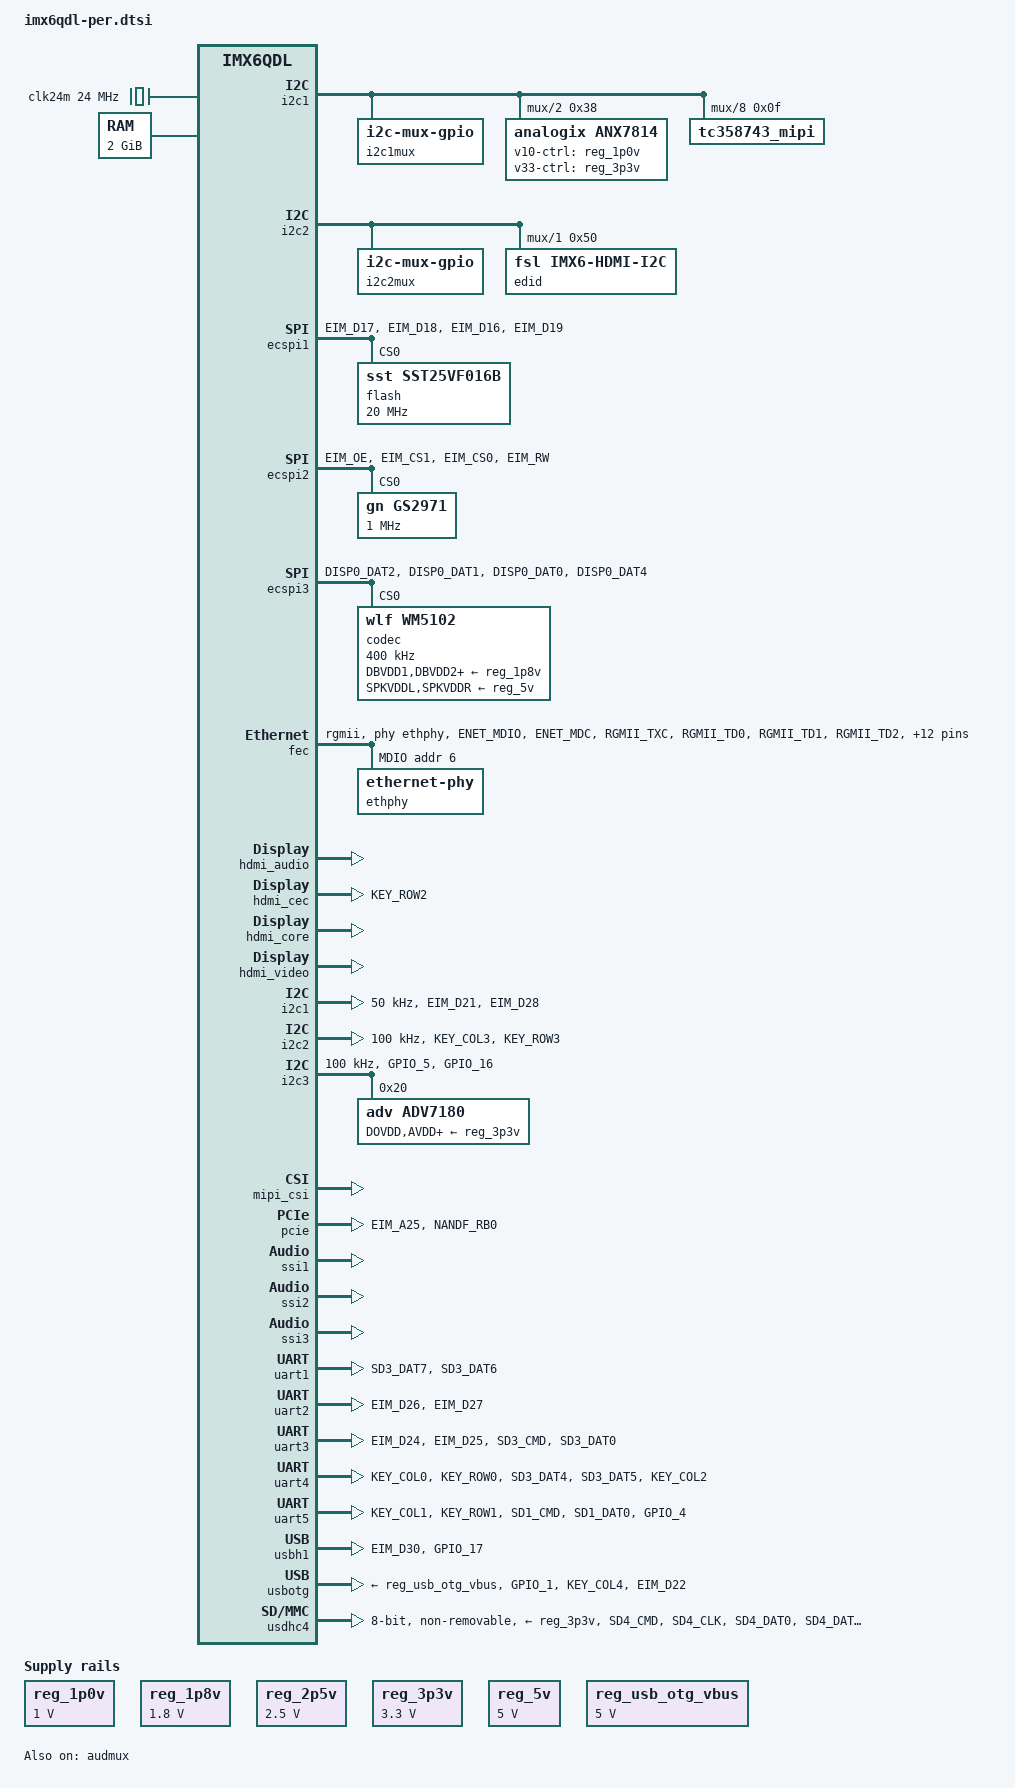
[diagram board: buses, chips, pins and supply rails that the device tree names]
/*
 * Copyright 2014 Boundary Devices
 *
 * The code contained herein is licensed under the GNU General Public
 * License. You may obtain a copy of the GNU General Public License
 * Version 2 or later at the following locations:
 *
 * http://www.opensource.org/licenses/gpl-license.html
 * http://www.gnu.org/copyleft/gpl.html
 */
#include <dt-bindings/gpio/gpio.h>
#include <dt-bindings/input/input.h>

&iomuxc {
	pinctrl-names = "default";
	pinctrl-0 = <&pinctrl_hog>;

	iomuxc_imx6q_per: iomuxc-imx6q-pergrp {
		status = "okay";
	};
};

&iomuxc_imx6q_per {
	pinctrl_audmux: audmuxgrp {
		fsl,pins = <
			/* Audio - GS2971 */
			MX6QDL_PAD_DISP0_DAT23__AUD4_RXD	0x1b070
			MX6QDL_PAD_SD2_CMD__AUD4_RXC		0x1b070
			MX6QDL_PAD_DISP0_DAT18__AUD4_RXFS	0x1b070

			/* Audio - TC3587 mipi hdmi input */
			MX6QDL_PAD_DISP0_DAT13__AUD5_RXFS	0x1b070
			MX6QDL_PAD_DISP0_DAT14__AUD5_RXC	0x1b070
			MX6QDL_PAD_DISP0_DAT19__AUD5_RXD	0x1b070

			/* Audio - WM5102 */
			MX6QDL_PAD_DI0_PIN2__AUD6_TXD		0x1b070
			MX6QDL_PAD_DI0_PIN3__AUD6_TXFS		0x1b070
			MX6QDL_PAD_DI0_PIN4__AUD6_RXD		0x1b070
			MX6QDL_PAD_DI0_PIN15__AUD6_TXC		0x1b070
		>;
	};

	pinctrl_ecspi1: ecspi1grp {
		fsl,pins = <
			MX6QDL_PAD_EIM_D17__ECSPI1_MISO		0x100b1
			MX6QDL_PAD_EIM_D18__ECSPI1_MOSI		0x100b1
			MX6QDL_PAD_EIM_D16__ECSPI1_SCLK		0x100b1
#define GP_ECSPI1_NOR_CS	<&gpio3 19 GPIO_ACTIVE_LOW>
			MX6QDL_PAD_EIM_D19__GPIO3_IO19		0x0b0b0
		>;
	};

	pinctrl_ecspi2: ecspi2grp {
		fsl,pins = <
			MX6QDL_PAD_EIM_OE__ECSPI2_MISO		0x100b1
			MX6QDL_PAD_EIM_CS1__ECSPI2_MOSI		0x100b1
			MX6QDL_PAD_EIM_CS0__ECSPI2_SCLK		0x100b1
#define GP_ECSPI2_GS2971_CS	<&gpio2 26 GPIO_ACTIVE_LOW>
			MX6QDL_PAD_EIM_RW__GPIO2_IO26		0x0b0b0
		>;
	};

	pinctrl_ecspi3: ecspi3grp {
		fsl,pins = <
			MX6QDL_PAD_DISP0_DAT2__ECSPI3_MISO	0x100b1
			MX6QDL_PAD_DISP0_DAT1__ECSPI3_MOSI	0x100b1
			MX6QDL_PAD_DISP0_DAT0__ECSPI3_SCLK	0x100b1
#define GP_ECSPI3_WM5102_CS	<&gpio4 25 GPIO_ACTIVE_LOW>
			MX6QDL_PAD_DISP0_DAT4__GPIO4_IO25	0x0b0b0		/* WM5102 */
		>;
	};

	pinctrl_enet: enetgrp {
		fsl,pins = <
			MX6QDL_PAD_ENET_MDIO__ENET_MDIO		0x1b0b0
			MX6QDL_PAD_ENET_MDC__ENET_MDC		0x1b0b0
			MX6QDL_PAD_RGMII_TXC__RGMII_TXC		0x100b0
			MX6QDL_PAD_RGMII_TD0__RGMII_TD0		0x100b0
			MX6QDL_PAD_RGMII_TD1__RGMII_TD1		0x100b0
			MX6QDL_PAD_RGMII_TD2__RGMII_TD2		0x100b0
			MX6QDL_PAD_RGMII_TD3__RGMII_TD3		0x100b0
			MX6QDL_PAD_RGMII_TX_CTL__RGMII_TX_CTL	0x100b0
			MX6QDL_PAD_ENET_REF_CLK__ENET_TX_CLK	0x100b0
			MX6QDL_PAD_RGMII_RXC__RGMII_RXC		0x1b0b0
			MX6QDL_PAD_RGMII_RD0__RGMII_RD0		0x1b0b0
			MX6QDL_PAD_RGMII_RD1__RGMII_RD1		0x1b0b0
			MX6QDL_PAD_RGMII_RD2__RGMII_RD2		0x1b0b0
			MX6QDL_PAD_RGMII_RD3__RGMII_RD3		0x1b0b0
			MX6QDL_PAD_RGMII_RX_CTL__RGMII_RX_CTL	0x1b0b0
#define GP_ENET_PHY_RESET	<&gpio1 27 GPIO_ACTIVE_LOW>
			MX6QDL_PAD_ENET_RXD0__GPIO1_IO27	0x030b0
#define GPIRQ_ENET_PHY	<&gpio1 28 IRQ_TYPE_LEVEL_LOW>
			MX6QDL_PAD_ENET_TX_EN__GPIO1_IO28	0x1b0b0
#define GPIRQ_ENET		<&gpio1 6 IRQ_TYPE_LEVEL_HIGH>
			MX6QDL_PAD_GPIO_6__ENET_IRQ		0x000b1
		>;
	};

	pinctrl_gs2971: gs2971grp {
		/* parallel camera on CSI1, pins differ for iMX6Q/iMX6DL */
	};

	pinctrl_gs2971_cea861: gs2971_cea861grp {
		/* parallel camera on CSI1, pins differ for iMX6Q/iMX6DL */
	};

	pinctrl_gs2971_no_cea861: gs2971_no_cea861grp { /* parallel camera */
		/* sav/eav codes are used, not hsync/vsync */
		fsl,pins = <
			MX6QDL_PAD_EIM_DA11__GPIO3_IO11		0xb0b1	/* HSYNC */
			MX6QDL_PAD_EIM_DA12__GPIO3_IO12		0xb0b1	/* VSYNC */
		>;
	};

	pinctrl_gs2971_gpios: gs2971_gpiosgrp {
		fsl,pins = <
#define GPIO_INPUT 2
#define GP_GS2971_STANDBY	<&gpio5 0 GPIO_ACTIVE_HIGH>
			MX6QDL_PAD_EIM_WAIT__GPIO5_IO00		0x000b0		/* 1 - pin K2 - Standby */
#define GP_GS2971_RESET		<&gpio3 13 GPIO_ACTIVE_LOW>
			MX6QDL_PAD_EIM_DA13__GPIO3_IO13		0x000b0		/* 0 - pin C7 - reset */
#define GP_GS2971_RC_BYPASS	<&gpio4 27 GPIO_ACTIVE_HIGH>
			MX6QDL_PAD_DISP0_DAT6__GPIO4_IO27	0x000b0		/* 0 - pin G3 - RC bypass - output is buffered(low) */
#define GP_GS2971_IOPROC_EN	<&gpio4 28 GPIO_ACTIVE_HIGH>
			MX6QDL_PAD_DISP0_DAT7__GPIO4_IO28	0x000b0		/* 0 - pin H8 - io(A/V) processor enable */
#define GP_GS2971_AUDIO_EN	<&gpio4 29 GPIO_ACTIVE_HIGH>
			MX6QDL_PAD_DISP0_DAT8__GPIO4_IO29	0x000b0		/* 0 - pin H3 - Audio Enable */
#define GP_GS2971_TIM_861	<&gpio4 30 GPIO_ACTIVE_HIGH>
			MX6QDL_PAD_DISP0_DAT9__GPIO4_IO30	0x000b0		/* 0 - pin H5 - TIM861 timing format, 1-use HSYNC/VSYNC */
#define GP_GS2971_SW_EN		<&gpio4 31 GPIO_ACTIVE_HIGH>
			MX6QDL_PAD_DISP0_DAT10__GPIO4_IO31	0x000b0		/* 0 - pin D7 - SW_EN - line lock enable */
#define GP_GS2971_DVB_ASI	<&gpio5 5 GPIO_INPUT>
			MX6QDL_PAD_DISP0_DAT11__GPIO5_IO05	0x1b0b0		/* pin G8 i/o DVB_ASI */
#define GP_GS2971_SMPTE_BYPASS	<&gpio2 27 GPIO_INPUT>
			MX6QDL_PAD_EIM_LBA__GPIO2_IO27		0x1b0b0		/* pin G7 - i/o SMPTE bypass */
#define GP_GS2971_DVI_LOCK	<&gpio3 14 GPIO_INPUT>
			MX6QDL_PAD_EIM_DA14__GPIO3_IO14		0x1b0b0		/* pin B6 - stat3 - DVI_LOCK */
#define GP_GS2971_DATA_ERR	<&gpio3 15 GPIO_INPUT>
			MX6QDL_PAD_EIM_DA15__GPIO3_IO15		0x1b0b0		/* pin C6 - stat5 - DATA error */
#define GP_GS2971_LB_CONT	<&gpio3 20 GPIO_INPUT>
			MX6QDL_PAD_EIM_D20__GPIO3_IO20		0x1b0b0		/* pin A3 - LB control - float, analog input */
#define GP_GS2971_Y_1ANC	<&gpio4 26 GPIO_INPUT>
			MX6QDL_PAD_DISP0_DAT5__GPIO4_IO26	0x1b0b0		/* pin C5 - stat4 - 1ANC - Y signal detect */
		>;
	};

	pinctrl_hdmi_cec: hdmi_cecgrp {
		fsl,pins = <
			MX6QDL_PAD_KEY_ROW2__HDMI_TX_CEC_LINE 0x1f8b0
		>;
	};

	pinctrl_hog: hoggrp {
		fsl,pins = <
			MX6QDL_PAD_GPIO_19__GPIO4_IO05		0x1b0b0		/* TP101 alert */
			MX6QDL_PAD_SD3_DAT1__GPIO7_IO05		0x1b0b0		/* PTT_ON */
			MX6QDL_PAD_SD3_CLK__GPIO7_IO03		0x1b0b0		/* power on J11 pin 3 */
			MX6QDL_PAD_SD1_DAT3__GPIO1_IO21		0x1b0b0		/* 1-wire enable */
			MX6QDL_PAD_GPIO_0__GPIO1_IO00		0x1b0b0		/* KL04 SWD_CLK */
			MX6QDL_PAD_GPIO_2__GPIO1_IO02		0x1b0b0		/* KL04 SWD_IO */
			MX6QDL_PAD_CSI0_DATA_EN__GPIO5_IO20	0x1b0b0		/* KL04 Reset */
			MX6QDL_PAD_CSI0_DAT4__GPIO5_IO22	0x1b0b0		/* KL04 Program */
			MX6QDL_PAD_CSI0_DAT11__GPIO5_IO29	0x1b0b0		/* KL04 Irq */
			MX6QDL_PAD_DI0_DISP_CLK__GPIO4_IO16	0x1b0b0		/* NC */
			MX6QDL_PAD_DISP0_DAT12__GPIO5_IO06	0x1b0b0		/* NC */
			MX6QDL_PAD_DISP0_DAT20__GPIO5_IO14	0x1b0b0		/* NC */
			MX6QDL_PAD_DISP0_DAT21__GPIO5_IO15	0x1b0b0		/* NC */
			MX6QDL_PAD_DISP0_DAT22__GPIO5_IO16	0x1b0b0		/* NC */
#define GP_ANX7738_RESET	<&gpio2 0 GPIO_ACTIVE_LOW>
			MX6QDL_PAD_NANDF_D0__GPIO2_IO00		0x130b0		/* I_HDMI_RESET_N */
		>;
	};

	pinctrl_i2c1: i2c1grp {
		fsl,pins = <
			MX6QDL_PAD_EIM_D21__I2C1_SCL	0x4001b8b1
			MX6QDL_PAD_EIM_D28__I2C1_SDA	0x4001b8b1
		>;
	};

	pinctrl_i2c1_1: i2c1_1grp {
		fsl,pins = <
#define GP_I2C1_SCL	<&gpio3 21 GPIO_ACTIVE_HIGH>
			MX6QDL_PAD_EIM_D21__GPIO3_IO21		0x4001b8b1
#define GP_I2C1_SDA	<&gpio3 28 GPIO_ACTIVE_HIGH>
			MX6QDL_PAD_EIM_D28__GPIO3_IO28		0x4001b8b1
		>;
	};

	pinctrl_i2c1a_tc358743_mipi: i2c1a-tc358743_mipigrp {
		fsl,pins = <
			MX6QDL_PAD_EIM_D23__GPIO3_IO23		0x1b0b0		/* J13 pin1 - Video detect */
			MX6QDL_PAD_EIM_D29__GPIO3_IO29		0x1b0b0		/* J13 pin20 - HPD in */
#define GP_TC3587_RESET	<&gpio6 11 GPIO_ACTIVE_LOW>
			MX6QDL_PAD_NANDF_CS0__GPIO6_IO11	0x000b0		/* Reset */
#define GPIRQ_TC3587	<&gpio6 14 IRQ_TYPE_LEVEL_LOW>
			MX6QDL_PAD_NANDF_CS1__GPIO6_IO14	0x000b0		/* Irq */
		>;
	};

	pinctrl_i2c1mux: i2c1muxgrp {
		fsl,pins = <
#define GP_I2C1_MUX_KL04	<&gpio5 27 GPIO_ACTIVE_HIGH>
			MX6QDL_PAD_CSI0_DAT9__GPIO5_IO27	0x030b0
#define GP_I2C1_MUX_ANX7814	<&gpio1 10 GPIO_ACTIVE_HIGH>
			MX6QDL_PAD_SD2_CLK__GPIO1_IO10		0x030b0
#define GP_I2C1_MUX_AX7738	<&gpio2 1 GPIO_ACTIVE_HIGH>
			MX6QDL_PAD_NANDF_D1__GPIO2_IO01		0x030b0
#define GP_I2C1_MUX_TC3587	 <&gpio6 16 GPIO_ACTIVE_HIGH>
			MX6QDL_PAD_NANDF_CS3__GPIO6_IO16	0x030b0
		>;
	};

	pinctrl_i2c1c_anx7814: i2c2a_anx7814grp {
		fsl,pins = <
#define GP_ANX7814_P_DWN       <&gpio1 13 GPIO_ACTIVE_HIGH>
			MX6QDL_PAD_SD2_DAT2__GPIO1_IO13		0x1b0b0		/* O_HDMI_PD */
#define GP_ANX7814_RESET       <&gpio2 5 GPIO_ACTIVE_LOW>
			MX6QDL_PAD_NANDF_D5__GPIO2_IO05		0x130b0		/* O_HDMI_RESET_N */
#define GP_ANX7814_CBL_DET     <&gpio2 3 GPIO_ACTIVE_HIGH>
			MX6QDL_PAD_NANDF_D3__GPIO2_IO03		0x130b0		/* O_HDMI_MYDP_DET_INTR */
#define GP_ANX7814_HDMI_INTR   <&gpio1 14 GPIO_ACTIVE_LOW>
			MX6QDL_PAD_SD2_DAT1__GPIO1_IO14		0x1b0b0		/* O_HDMI_INTR */
		>;
	};

	pinctrl_i2c2: i2c2grp {
		fsl,pins = <
			MX6QDL_PAD_KEY_COL3__I2C2_SCL	0x4001b8b1
			MX6QDL_PAD_KEY_ROW3__I2C2_SDA	0x4001b8b1
		>;
	};

	pinctrl_i2c2_1: i2c2_1grp {
		fsl,pins = <
#define GP_I2C2_SCL	<&gpio4 12 GPIO_ACTIVE_HIGH>
			MX6QDL_PAD_KEY_COL3__GPIO4_IO12		0x4001b8b1
#define GP_I2C2_SDA	<&gpio4 13 GPIO_ACTIVE_HIGH>
			MX6QDL_PAD_KEY_ROW3__GPIO4_IO13		0x4001b8b1
		>;
	};

	pinctrl_i2c2mux: i2c2muxgrp {
		fsl,pins = <
#define GP_I2C2_MUX_ANX7814_DDC	 <&gpio1 15 GPIO_ACTIVE_HIGH>
			MX6QDL_PAD_SD2_DAT0__GPIO1_IO15		0x030b0
		>;
	};

	pinctrl_i2c3: i2c3grp {
		fsl,pins = <
			MX6QDL_PAD_GPIO_5__I2C3_SCL	0x4001b8b1
			MX6QDL_PAD_GPIO_16__I2C3_SDA	0x4001b8b1
		>;
	};

	pinctrl_i2c3_1: i2c3_1grp {
		fsl,pins = <
#define GP_I2C3_SCL	<&gpio1 5 GPIO_ACTIVE_HIGH>
			MX6QDL_PAD_GPIO_5__GPIO1_IO05		0x4001b8b1
#define GP_I2C3_SDA	<&gpio7 11 GPIO_ACTIVE_HIGH>
			MX6QDL_PAD_GPIO_16__GPIO7_IO11		0x4001b8b1
		>;
	};

	pinctrl_i2c3_adv7180: i2c3-adv7180grp {
		fsl,pins = <
			MX6QDL_PAD_CSI0_DAT12__IPU1_CSI0_DATA12		0x1b0b1
			MX6QDL_PAD_CSI0_DAT13__IPU1_CSI0_DATA13		0x1b0b1
			MX6QDL_PAD_CSI0_DAT14__IPU1_CSI0_DATA14		0x1b0b1
			MX6QDL_PAD_CSI0_DAT15__IPU1_CSI0_DATA15		0x1b0b1
			MX6QDL_PAD_CSI0_DAT16__IPU1_CSI0_DATA16		0x1b0b1
			MX6QDL_PAD_CSI0_DAT17__IPU1_CSI0_DATA17		0x1b0b1
			MX6QDL_PAD_CSI0_DAT18__IPU1_CSI0_DATA18		0x1b0b1
			MX6QDL_PAD_CSI0_DAT19__IPU1_CSI0_DATA19		0x1b0b1
			MX6QDL_PAD_CSI0_PIXCLK__IPU1_CSI0_PIXCLK	0x1b0b1
#define GP_ADV7180_RESET	<&gpio4 15 GPIO_ACTIVE_LOW>
			MX6QDL_PAD_KEY_ROW4__GPIO4_IO15			0x000b0		/* Reset */
#define GPIRQ_ADV7180		<&gpio1 9 IRQ_TYPE_LEVEL_LOW>
			MX6QDL_PAD_GPIO_9__GPIO1_IO09			0x1b0b0		/* Irq */
		>;
	};

	pinctrl_i2c3_adv7180_cea861: i2c3-adv7180_cea861grp {
		fsl,pins = <
			MX6QDL_PAD_CSI0_MCLK__IPU1_CSI0_HSYNC		0x1b0b1
			MX6QDL_PAD_CSI0_VSYNC__IPU1_CSI0_VSYNC		0x1b0b1
		>;
	};

	pinctrl_i2c3_adv7180_no_cea861: i2c3-adv7180_no_cea861grp {
		fsl,pins = <
			MX6QDL_PAD_CSI0_MCLK__GPIO5_IO19		0x1b0b1	/* Hsync */
			MX6QDL_PAD_CSI0_VSYNC__GPIO5_IO21		0x1b0b1	/* Vsync */
		>;
	};

	pinctrl_pcie: pciegrp {
		fsl,pins = <
#define GP_PCIE_RESET	<&gpio5 2 GPIO_ACTIVE_LOW>
			MX6QDL_PAD_EIM_A25__GPIO5_IO02		0x000b0		/* pcie reset */
			MX6QDL_PAD_NANDF_RB0__GPIO6_IO10	0x000b0		/* Radio on */
		>;
	};

	pinctrl_uart1: uart1grp { /* UART1 - J2 - PTT connector */
		fsl,pins = <
			MX6QDL_PAD_SD3_DAT7__UART1_TX_DATA	0x1b0b1
			MX6QDL_PAD_SD3_DAT6__UART1_RX_DATA	0x1b0b1
		>;
	};

	pinctrl_uart2: uart2grp { /* UART2 - debug console */
		fsl,pins = <
			MX6QDL_PAD_EIM_D26__UART2_TX_DATA	0x1b0b1
			MX6QDL_PAD_EIM_D27__UART2_RX_DATA	0x1b0b1
		>;
	};

	pinctrl_uart3: uart3grp { /* UART3 - relay J3 */
		fsl,pins = <
			MX6QDL_PAD_EIM_D24__UART3_TX_DATA	0x1b0b1		/* J3, pin 5 */
			MX6QDL_PAD_EIM_D25__UART3_RX_DATA	0x1b0b1		/* J3, pin 6 */
			MX6QDL_PAD_SD3_CMD__GPIO7_IO02		0x1b0b0		/* Relay Detect */
			MX6QDL_PAD_SD3_DAT0__GPIO7_IO04		0x1b0b0		/* Carrier sense */
		>;
	};

	pinctrl_uart4: uart4grp { /* UART4 - GPS */
		fsl,pins = <
			MX6QDL_PAD_KEY_COL0__UART4_TX_DATA	0x1b0b1
			MX6QDL_PAD_KEY_ROW0__UART4_RX_DATA	0x1b0b1
			MX6QDL_PAD_SD3_DAT4__GPIO7_IO01		0x1b0b0		/* GPS reset */
			MX6QDL_PAD_SD3_DAT5__GPIO7_IO00		0x1b0b0		/* GPS Irq */
			MX6QDL_PAD_KEY_COL2__GPIO4_IO10		0x1b0b0		/* GPS Heartbeat */
		>;
	};

	pinctrl_uart5: uart5grp { /* UART5 - J6 data connector */
		fsl,pins = <
			MX6QDL_PAD_KEY_COL1__UART5_TX_DATA	0x0b0b1		/* J6, pin 5 */
			MX6QDL_PAD_KEY_ROW1__UART5_RX_DATA	0x1b0b1		/* J6, pin 6 */
			MX6QDL_PAD_SD1_CMD__GPIO1_IO18		0x1b0b0		/* J6, pin 8 - Data detect */
			MX6QDL_PAD_SD1_DAT0__GPIO1_IO16		0x1b0b0		/* J6, Power enable */
			MX6QDL_PAD_GPIO_4__GPIO1_IO04		0x1b0b0		/* J6, pin 16 */
		>;
	};

	pinctrl_usbh1: usbh1grp {
		fsl,pins = <
			MX6QDL_PAD_EIM_D30__USB_H1_OC	0x1b0b0
#define GP_USB_HUB_RESET	<&gpio7 12 GPIO_ACTIVE_LOW>
			MX6QDL_PAD_GPIO_17__GPIO7_IO12	0x1b0b0	/* USB Hub Reset for USB2512 4 port hub */
		>;
	};

	pinctrl_usbotg: usbotggrp {
		fsl,pins = <
			MX6QDL_PAD_GPIO_1__USB_OTG_ID	0x17059
			MX6QDL_PAD_KEY_COL4__USB_OTG_OC	0x1b0b0
#define GP_USB_OTG_PWR		<&gpio3 22 GPIO_ACTIVE_HIGH>
			MX6QDL_PAD_EIM_D22__GPIO3_IO22		0x0b0b0	/* otg power en */
		>;
	};

	pinctrl_usdhc4_50mhz: usdhc4grp-1 {
		fsl,pins = <
			MX6QDL_PAD_SD4_CMD__SD4_CMD		0x17059
			MX6QDL_PAD_SD4_CLK__SD4_CLK		0x10059
			MX6QDL_PAD_SD4_DAT0__SD4_DATA0		0x17059
			MX6QDL_PAD_SD4_DAT1__SD4_DATA1		0x17059
			MX6QDL_PAD_SD4_DAT2__SD4_DATA2		0x17059
			MX6QDL_PAD_SD4_DAT3__SD4_DATA3		0x17059
			MX6QDL_PAD_SD4_DAT4__SD4_DATA4		0x17059
			MX6QDL_PAD_SD4_DAT5__SD4_DATA5		0x17059
			MX6QDL_PAD_SD4_DAT6__SD4_DATA6		0x17059
			MX6QDL_PAD_SD4_DAT7__SD4_DATA7		0x17059
			MX6QDL_PAD_NANDF_CLE__GPIO6_IO07 0x1b0b0	/* eMMC reset */
		>;
	};

	pinctrl_usdhc4_100mhz: usdhc4grp-2 {
		fsl,pins = <
			MX6QDL_PAD_SD4_CMD__SD4_CMD		0x170b9
			MX6QDL_PAD_SD4_CLK__SD4_CLK		0x100b9
			MX6QDL_PAD_SD4_DAT0__SD4_DATA0		0x170b9
			MX6QDL_PAD_SD4_DAT1__SD4_DATA1		0x170b9
			MX6QDL_PAD_SD4_DAT2__SD4_DATA2		0x170b9
			MX6QDL_PAD_SD4_DAT3__SD4_DATA3		0x170b9
			MX6QDL_PAD_SD4_DAT4__SD4_DATA4		0x170b9
			MX6QDL_PAD_SD4_DAT5__SD4_DATA5		0x170b9
			MX6QDL_PAD_SD4_DAT6__SD4_DATA6		0x170b9
			MX6QDL_PAD_SD4_DAT7__SD4_DATA7		0x170b9
		>;
	};

	pinctrl_usdhc4_200mhz: usdhc4grp-3 {
		fsl,pins = <
			MX6QDL_PAD_SD4_CMD__SD4_CMD		0x170f9
			MX6QDL_PAD_SD4_CLK__SD4_CLK		0x100f9
			MX6QDL_PAD_SD4_DAT0__SD4_DATA0		0x170f9
			MX6QDL_PAD_SD4_DAT1__SD4_DATA1		0x170f9
			MX6QDL_PAD_SD4_DAT2__SD4_DATA2		0x170f9
			MX6QDL_PAD_SD4_DAT3__SD4_DATA3		0x170f9
			MX6QDL_PAD_SD4_DAT4__SD4_DATA4		0x170f9
			MX6QDL_PAD_SD4_DAT5__SD4_DATA5		0x170f9
			MX6QDL_PAD_SD4_DAT6__SD4_DATA6		0x170f9
			MX6QDL_PAD_SD4_DAT7__SD4_DATA7		0x170f9
		>;
	};

	pinctrl_wm5102: wm5102grp {
		fsl,pins = <
			MX6QDL_PAD_SD1_CLK__OSC32K_32K_OUT	0x000b0	/* MCLK2 */
			MX6QDL_PAD_NANDF_CS2__CCM_CLKO2		0x000b0	/* MCLK1 */
#define GP_WM5102_RESET	<&gpio5 9 GPIO_ACTIVE_LOW>
			MX6QDL_PAD_DISP0_DAT15__GPIO5_IO09	0x000b0	/* Reset */
#define GPIRQ_WM5102	<&gpio5 10 IRQ_TYPE_LEVEL_LOW>
			MX6QDL_PAD_DISP0_DAT16__GPIO5_IO10	0x1b0b0	/* Irq */
#define GP_WM5102_LDOENA <&gpio5 11 GPIO_ACTIVE_HIGH>
			MX6QDL_PAD_DISP0_DAT17__GPIO5_IO11	0x000b0	/* ldo enable */
#define GP_WM5102_MIC_PTT_L <&gpio2 31 GPIO_ACTIVE_LOW>
			MX6QDL_PAD_EIM_EB3__GPIO2_IO31		0x1b0b0		/* J2, pin 6: PTT_L */
#define GP_WM5102_MIC_PTT_R <&gpio2 30 GPIO_ACTIVE_LOW>
			MX6QDL_PAD_EIM_EB2__GPIO2_IO30		0x1b0b0		/* J2, pin 7: PTT_R */
		>;
	};
};

/ {
	aliases {
		fb_hdmi = &fb_hdmi;
		mmc0 = &usdhc4;
		mxcfb0 = &fb_hdmi;
	};

	clocks {
		clk24m: clk24m {
			compatible = "fixed-clock";
			#clock-cells = <0>;
			clock-frequency = <24000000>;
		};
	};

	fb_hdmi: fb@0 {
		compatible = "fsl,mxc_sdc_fb";
		disp_dev = "hdmi";
		interface_pix_fmt = "RGB24";
		mode_str ="1280x720M@60";
		default_bpp = <24>;
		int_clk = <0>;
		late_init = <0>;
		status = "disabled";
	};

	i2c1mux {
		compatible = "i2c-mux-gpio";
		pinctrl-names = "default";
		pinctrl-0 = <&pinctrl_i2c1mux>;
		#address-cells = <1>;
		#size-cells = <0>;
		mux-gpios = GP_I2C1_MUX_KL04, GP_I2C1_MUX_ANX7814, GP_I2C1_MUX_AX7738, GP_I2C1_MUX_TC3587;
		i2c-parent = <&i2c1>;
		idle-state = <0>;

		i2c1a: i2c1@1 {
			reg = <1>;
			#address-cells = <1>;
			#size-cells = <0>;
		};
		i2c1b: i2c1@2 {
			reg = <2>;
			#address-cells = <1>;
			#size-cells = <0>;
		};
		i2c1c: i2c1@4 {
			reg = <4>;
			#address-cells = <1>;
			#size-cells = <0>;
		};
		i2c1d: i2c1@8 {
			reg = <8>;
			#address-cells = <1>;
			#size-cells = <0>;
		};
	};

	i2c2mux {
		compatible = "i2c-mux-gpio";
		pinctrl-names = "default";
		pinctrl-0 = <&pinctrl_i2c2mux>;
		#address-cells = <1>;
		#size-cells = <0>;
		mux-gpios = GP_I2C2_MUX_ANX7814_DDC;
		i2c-parent = <&i2c2>;
		idle-state = <0>;

		i2c2a: i2c2@1 {
			reg = <1>;
			#address-cells = <1>;
			#size-cells = <0>;
		};
	};

	memory {
		reg = <0x10000000 0x80000000>;
	};

	regulators {
		compatible = "simple-bus";
		#address-cells = <1>;
		#size-cells = <0>;

		reg_1p0v: regulator@0 {
			compatible = "regulator-fixed";
			reg = <0>;
			regulator-name = "1P0V";
			regulator-min-microvolt = <1000000>;
			regulator-max-microvolt = <1000000>;
			regulator-always-on;
		};

		reg_1p8v: regulator@1 {
			compatible = "regulator-fixed";
			reg = <1>;
			regulator-name = "1P8V";
			regulator-min-microvolt = <1800000>;
			regulator-max-microvolt = <1800000>;
			regulator-always-on;
		};

		reg_2p5v: regulator@2 {
			compatible = "regulator-fixed";
			reg = <2>;
			regulator-name = "2P5V";
			regulator-min-microvolt = <2500000>;
			regulator-max-microvolt = <2500000>;
			regulator-always-on;
		};

		reg_3p3v: regulator@3 {
			compatible = "regulator-fixed";
			reg = <3>;
			regulator-name = "3P3V";
			regulator-min-microvolt = <3300000>;
			regulator-max-microvolt = <3300000>;
			regulator-always-on;
		};

		reg_5v: regulator@4 {
			compatible = "regulator-fixed";
			reg = <4>;
			regulator-name = "5V";
			regulator-min-microvolt = <5000000>;
			regulator-max-microvolt = <5000000>;
			regulator-always-on;
		};

		reg_usb_otg_vbus: regulator@5 {
			compatible = "regulator-fixed";
			reg = <5>;
			regulator-name = "usb_otg_vbus";
			regulator-min-microvolt = <5000000>;
			regulator-max-microvolt = <5000000>;
			gpio = GP_USB_OTG_PWR;
			enable-active-high;
		};
	};

	sound-hdmi {
		compatible = "fsl,imx6q-audio-hdmi",
			     "fsl,imx-audio-hdmi";
		model = "imx-audio-hdmi";
		hdmi-controller = <&hdmi_audio>;
	};

	sound-wm5102 {
		compatible = "fsl,imx6q-per-wm5102",
			     "fsl,imx-audio-wm5102";
		model = "imx6q-per-wm5102";
		ssi-controller = <&ssi1>;
		mux-int-port = <1>;
		mux-ext-port = <6>;
	};

	v4l2_cap_0 {		/* Adv7180 */
		compatible = "fsl,imx6q-v4l2-capture";
		ipu_id = <0>;
		csi_id = <0>;
		mclk_source = <0>;
		status = "okay";
	};

	v4l2_cap_1 {		/* TC3587 */
		compatible = "fsl,imx6q-v4l2-capture";
		ipu_id = <0>;
		csi_id = <0>;
		mipi_camera = <1>;
		mclk_source = <0>;
		status = "okay";
	};

	v4l2_cap_2: v4l2_cap_2 { /* GS2971 */
		compatible = "fsl,imx6q-v4l2-capture";
		csi_id = <1>;
		mclk_source = <0>;
		status = "okay";
	};

	v4l2_out {
		compatible = "fsl,mxc_v4l2_output";
		status = "okay";
	};
};

&audmux {
	pinctrl-names = "default";
	pinctrl-0 = <&pinctrl_audmux>;
	status = "okay";
};

&ecspi1 {
	fsl,spi-num-chipselects = <1>;
	cs-gpios = GP_ECSPI1_NOR_CS;
	pinctrl-names = "default";
	pinctrl-0 = <&pinctrl_ecspi1>;
	status = "okay";

	flash: m25p80@0 {
		compatible = "sst,sst25vf016b";
		spi-max-frequency = <20000000>;
		reg = <0>;
		#address-cells = <1>;
		#size-cells = <1>;
		mtd@00000000 {
			label = "U-Boot";
			reg = <0x0 0xC0000>;
		};

		mtd@000C0000 {
			label = "env";
			reg = <0xC0000 0x2000>;
		};
		mtd@000C2000 {
			label = "splash";
			reg = <0xC2000 0x13e000>;
		};
	};
};

&ecspi2 {
	fsl,spi-num-chipselects = <1>;
	cs-gpios = GP_ECSPI2_GS2971_CS;
	pinctrl-names = "default";
	pinctrl-0 = <&pinctrl_ecspi2>;
	status = "okay";

	gs2971: gs2971@0 {
		compatible = "gn,gs2971";
		reg = <0>;
		pinctrl-names = "default", "no_cea861", "cea861";
		pinctrl-0 = <&pinctrl_gs2971>, <&pinctrl_gs2971_gpios>;
		pinctrl-1 = <&pinctrl_gs2971_no_cea861>;
		pinctrl-2 = <&pinctrl_gs2971_cea861>;
		mclk = <27000000>;
		csi = <1>;
		cea861 = <0>;
		spi-max-frequency = <1000000>;
		standby-gpios = GP_GS2971_STANDBY;	/* 1 - powerdown */
		rst-gpios = GP_GS2971_RESET;		/* 0 - reset */
		tim_861-gpios = GP_GS2971_TIM_861;	/* 0 - TIM861 timing format sav/eav codes */
		/* enable on power up */
		ioproc_en-gpios = GP_GS2971_IOPROC_EN;	/* 0 - io(A/V) processor disabled */
		sw_en-gpios = GP_GS2971_SW_EN;		/* 0 - line lock disabled */
		rc_bypass-gpios = GP_GS2971_RC_BYPASS;	/* 0 -  RC bypass - output is buffered(low) */
		audio_en-gpios = GP_GS2971_AUDIO_EN;	/* 0 - audio disabled */
		dvb_asi-gpios = GP_GS2971_DVB_ASI;	/* 0 - dvs_asi disabled */
		smpte_bypass-gpios = GP_GS2971_SMPTE_BYPASS;	/* in */
		dvi_lock-gpios = GP_GS2971_DVI_LOCK;	/* in */
		data_err-gpios = GP_GS2971_DATA_ERR;	/* in */
		lb_cont-gpios = GP_GS2971_LB_CONT;	/* in */
		y_1anc-gpios = GP_GS2971_Y_1ANC;	/* in */
	};
};

&ecspi3 {
	fsl,spi-num-chipselects = <1>;
	cs-gpios = GP_ECSPI3_WM5102_CS;
	pinctrl-names = "default";
	pinctrl-0 = <&pinctrl_ecspi3>;
	status = "okay";

	codec: wm5102@0 {
		compatible = "wlf,wm5102";
		reg = <0>;
		pinctrl-names = "default";
		pinctrl-0 = <&pinctrl_wm5102>;
		clocks = <&clks IMX6QDL_CLK_CKO2>, <&clks IMX6QDL_CLK_CKIL>;
		clock-names = "mclk1", "mclk2";
		interrupts-extended = GPIRQ_WM5102;
		wlf,reset = GP_WM5102_RESET;
		wlf,ldoena = GP_WM5102_LDOENA;
		wlf,micptt-gpio = GP_WM5102_MIC_PTT_L, GP_WM5102_MIC_PTT_R;
		wlf,micbias1 = <3300 1 1 1 1>;
		wlf,micbias2 = <3300 1 1 1 1>;
		wlf,inmode = <1 1 1 1>;
		spi-max-frequency = <400000>;
		DBVDD1-supply = <&reg_1p8v>;
		DBVDD2-supply = <&reg_1p8v>;
		DBVDD3-supply = <&reg_1p8v>;
                AVDD-supply = <&reg_1p8v>;
		CPVDD-supply = <&reg_1p8v>;
		SPKVDDL-supply = <&reg_5v>;
		SPKVDDR-supply = <&reg_5v>;
		assigned-clocks        = <&clks IMX6QDL_CLK_CKO2_SEL>;
		assigned-clock-parents = <&clks IMX6QDL_CLK_OSC>;
	};
};

&fec {
	interrupts-extended = GPIRQ_ENET,
			      <&gpc 0 119 IRQ_TYPE_LEVEL_HIGH>;
	phy-handle = <&ethphy>;
	phy-mode = "rgmii";
#if 0
	phy-reset-gpios = GP_ENET_PHY_RESET;
#endif
	pinctrl-names = "default";
	pinctrl-0 = <&pinctrl_enet>;
	status = "okay";

	mdio {
		#address-cells = <0>;
		#size-cells = <1>;

		ethphy: ethernet-phy@6 {
			reg = <6>;
			interrupts-extended = GPIRQ_ENET_PHY;
		};
	};
};

&hdmi_audio {
	status = "okay";
};

&hdmi_cec {
	pinctrl-names = "default";
	pinctrl-0 = <&pinctrl_hdmi_cec>;
	status = "okay";
};

&hdmi_core {
	ipu_id = <0>;
	disp_id = <0>;
	status = "okay";
};

&hdmi_video {
	fsl,phy_reg_vlev = <0x0294>;
	fsl,phy_reg_cksymtx = <0x800d>;
	status = "okay";
};

&i2c1 {
	clock-frequency = <50000>;
	pinctrl-names = "default", "gpio";
	pinctrl-0 = <&pinctrl_i2c1>;
	pinctrl-1 = <&pinctrl_i2c1_1>;
	scl-gpios = GP_I2C1_SCL;
	sda-gpios = GP_I2C1_SDA;
	status = "okay";

	/* microcontroller KL04Z32TFK4 */
};

&i2c1b {
	anx7814: anx7814@38 {
#if 1
		compatible = "analogix,anx7814";
		/* uses many addresses: 0x38,0x39,0x3d,0x3f,0x40*/
		reg = <0x38>;
		pinctrl-names = "default";
		pinctrl-0 = <&pinctrl_i2c1c_anx7814>;
		pd-gpios = GP_ANX7814_P_DWN;
		reset-gpios = GP_ANX7814_RESET;
		analogix,cbl-det-gpio = GP_ANX7814_CBL_DET;
		analogix,external-ldo-control= <0>;
		analogix,v10-ctrl-gpio = <&reg_1p0v>;
		analogix,v33-ctrl-gpio = <&reg_3p3v>;
#else
		compatible = "anx7816";
		/* uses many addresses: 0x38,0x39,0x3d,0x3f,0x40*/
		reg = <0x38>;
		pinctrl-names = "default";
		pinctrl-0 = <&pinctrl_i2c1c_anx7814>;
		analogix,p-dwn-gpio = GP_ANX7814_P_DWN;
		analogix,reset-gpio = GP_ANX7814_RESET;
		analogix,cbl-det-gpio = GP_ANX7814_CBL_DET;
		analogix,external-ldo-control= <0>;
		analogix,v10-ctrl-gpio = <&reg_1p0v>;
		analogix,v33-ctrl-gpio = <&reg_3p3v>;
#endif

	};
};

&i2c1d {
	tc358743_mipi: tc358743_mipi@0f {
		compatible = "tc358743_mipi";
		reg = <0x0f>;
		pinctrl-names = "default";
		pinctrl-0 = <&pinctrl_i2c1a_tc358743_mipi>;
		rst-gpios = GP_TC3587_RESET;
		interrupts-extended = GPIRQ_TC3587;
		ipu_id = <0>;
		csi_id = <0>;
		mclk = <27000000>;
		mclk_source = <0>;
	};
};

&i2c2 {
	clock-frequency = <100000>;
	pinctrl-names = "default", "gpio";
	pinctrl-0 = <&pinctrl_i2c2>;
	pinctrl-1 = <&pinctrl_i2c2_1>;
	scl-gpios = GP_I2C2_SCL;
	sda-gpios = GP_I2C2_SDA;
	status = "okay";
};

&i2c2a {
	edid@50 {
		compatible = "fsl,imx6-hdmi-i2c";
		reg = <0x50>;
	};
};


&i2c3 {
	clock-frequency = <100000>;
	pinctrl-names = "default", "gpio";
	pinctrl-0 = <&pinctrl_i2c3>;
	pinctrl-1 = <&pinctrl_i2c3_1>;
	scl-gpios = GP_I2C3_SCL;
	sda-gpios = GP_I2C3_SDA;
	status = "okay";


	adv7180: adv7180@20 {
		compatible = "adv,adv7180";
		reg = <0x20>;
		pinctrl-names = "default", "no_cea861", "cea861";
		pinctrl-0 = <&pinctrl_i2c3_adv7180>;
		pinctrl-1 = <&pinctrl_i2c3_adv7180_no_cea861>;
		pinctrl-2 = <&pinctrl_i2c3_adv7180_cea861>;
		cea861 = <0>;
		DOVDD-supply = <&reg_3p3v>; /* 3.3v, enabled via 2.8 VGEN6 */
		AVDD-supply = <&reg_3p3v>;  /* 1.8v */
		DVDD-supply = <&reg_3p3v>;  /* 1.8v */
		PVDD-supply = <&reg_3p3v>;  /* 1.8v */
		rst-gpios = GP_ADV7180_RESET;
		interrupts-extended = GPIRQ_ADV7180;
		ipu_id = <0>;
		csi_id = <0>;
		mclk = <28636300>;
		mclk_source = <0>;
		cvbs = <1>;
        };
};

&mipi_csi {
	status = "okay";
};

&pcie {
	pinctrl-names = "default";
	pinctrl-0 = <&pinctrl_pcie>;
	reset-gpios = GP_PCIE_RESET;
	status = "okay";
};

&ssi1 {
	fsl,mode = "i2s-slave";
	status = "okay";
};

&ssi2 {
	fsl,mode = "i2s-slave";
	status = "okay";
};

&ssi3 {
	fsl,mode = "i2s-slave";
	status = "okay";
};

&uart1 {
	pinctrl-names = "default";
	pinctrl-0 = <&pinctrl_uart1>;
	status = "okay";
};

&uart2 {
	pinctrl-names = "default";
	pinctrl-0 = <&pinctrl_uart2>;
	status = "okay";
};

&uart3 {
	pinctrl-names = "default";
	pinctrl-0 = <&pinctrl_uart3>;
	status = "okay";
};

&uart4 {
	pinctrl-names = "default";
	pinctrl-0 = <&pinctrl_uart4>;
	status = "okay";
};

&uart5 {
	pinctrl-names = "default";
	pinctrl-0 = <&pinctrl_uart5>;
	status = "okay";
};

&usbh1 {
	pinctrl-names = "default";
	pinctrl-0 = <&pinctrl_usbh1>;
	reset-gpios = GP_USB_HUB_RESET;
	status = "okay";
};

&usbotg {
	vbus-supply = <&reg_usb_otg_vbus>;
	pinctrl-names = "default";
	pinctrl-0 = <&pinctrl_usbotg>;
	disable-over-current;
	status = "okay";
};

&usdhc4 {
#if 0
	pinctrl-names = "default", "state_100mhz", "state_200mhz";
	pinctrl-0 = <&pinctrl_usdhc4_50mhz>;
	pinctrl-1 = <&pinctrl_usdhc4_100mhz>;
	pinctrl-2 = <&pinctrl_usdhc4_200mhz>;
#else
	pinctrl-names = "default";
	pinctrl-0 = <&pinctrl_usdhc4_50mhz>;
#endif
	bus-width = <8>;
	non-removable;
	vmmc-supply = <&reg_3p3v>;
	keep-power-in-suspend;
	status = "okay";
};
